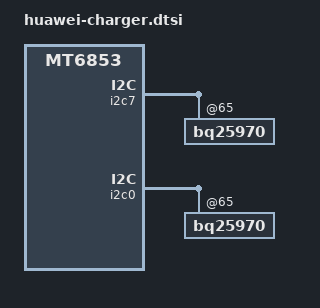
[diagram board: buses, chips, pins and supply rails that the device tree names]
#include "../huawei_charger/mt6853_hjc_huawei_charger.dtsi"

&i2c7 {
	bq25970@65 {
		i2c_recovery_addr = <0x66>;
		status = "ok";
	};
};

&i2c0 {
	bq25970@65 {
		i2c_recovery_addr = <0x66>;
		status = "ok";
	};
};

&huawei_batt_info {
	shield_ct_sign = <1>;
};
